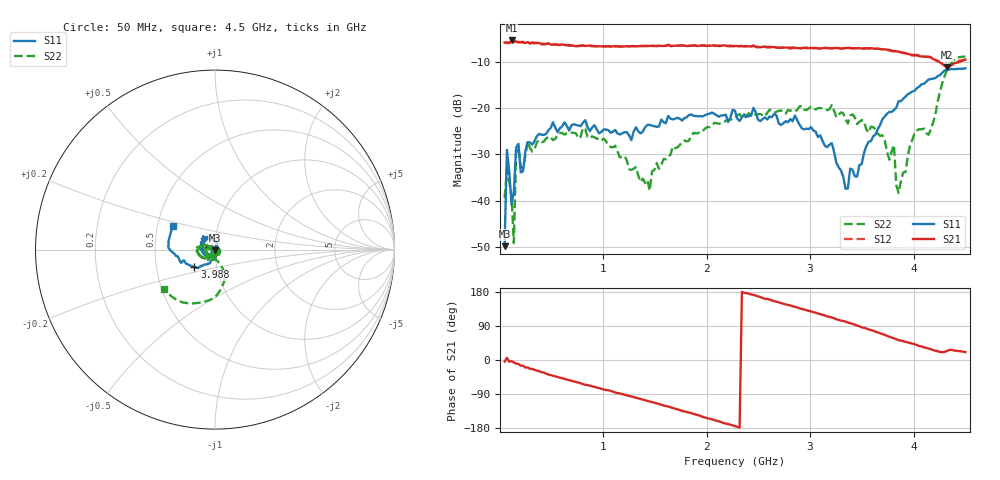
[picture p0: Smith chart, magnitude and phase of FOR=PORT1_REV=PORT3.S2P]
! Network Analyzer HP8722ES.07.74: Oct 30, 2002 Serial No. US39175660
! Hewlett-Packard
! 30 May 2012  16:59:59
! Frequency  S11  S21  S12  S22
# HZ  S  DB R  50
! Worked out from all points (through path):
!   201 points, 50 MHz to 4.5 GHz, reference 50 ohm
!   highest |S21| = -5.42 dB at 116.8 MHz (marker M1); lowest = -11.2 dB at 4.322 GHz (marker M2)
!   group delay of S21, straight-line fit = 219 ps
!   lowest |S11| = -49.9 dB at 50 MHz (marker M3), VSWR 1.01, Z = 49.9 - j0.294 ohm
!   |S11| at or under -10 dB: start of sweep to end of sweep
!   |S22| runs from -49.2 to -8.9 dB; largest |S21 - S12| = 0.019
!   S11 on the Smith chart (normalised r, x): 50 MHz: 1.00, -0.01; 3.988 GHz: 0.78, -0.16; 4.5 GHz: 0.60, +0.17
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5e7  -49.87 -113.4  -5.87 -4.1  -5.94 -2.8  -39.44 -66.5
7.225e7  -29.05 -54.1  -5.78 5.5  -5.99 3.9  -33.28 -81.3
1.1675e8  -40.83 174.5  -5.42 -2.9  -5.67 -4.0  -38.84 126.7
1.39e8  -38.27 -116.7  -5.77 -6.5  -5.90 -7.8  -49.19 -158.8
1.6125e8  -28.54 -90.2  -5.62 -9.2  -5.76 -10.4  -29.67 -87.5
1.835e8  -27.75 -90.2  -5.76 -10.6  -5.83 -12.1  -28.59 -96.6
2.0575e8  -33.91 -116.1  -5.78 -15.0  -5.83 -15.6  -32.63 -111.9
2.725e8  -27.40 -110.5  -5.77 -19.5  -5.88 -19.8  -27.26 -108.8
8.065e8  -23.18 -170.7  -6.49 -63.7  -6.54 -64.1  -24.33 -179.3
1.45175e9  -23.67 -180.0  -6.61 -109.6  -6.67 -109.4  -37.86 -107.2
1.54075e9  -23.99 -179.0  -6.56 -116.2  -6.61 -116.8  -33.13 -131.4
2.275e9  -20.60 138.4  -6.60 -174.5  -6.78 -174.9  -22.28 -141.3
3.0315e9  -24.86 96.2  -7.03 126.2  -7.12 126.5  -20.09 -175.5
3.36525e9  -37.37 -37.4  -7.02 99.1  -7.07 99.1  -23.37 168.4
3.61e9  -26.13 -90.1  -7.16 77.4  -7.23 77.4  -24.14 154.8
3.76575e9  -20.85 -117.2  -7.48 61.2  -7.59 60.7  -31.18 143.9
3.81025e9  -20.44 -119.3  -7.72 57.2  -7.76 57.2  -28.01 151.5
3.85475e9  -18.56 -128.8  -7.85 52.3  -7.80 52.9  -38.35 -139.0
3.98825e9  -16.45 -139.6  -8.53 43.1  -8.69 43.2  -26.82 -100.5
4.144e9  -13.87 -158.6  -8.97 30.3  -8.94 31.3  -25.79 -87.4
4.322e9  -11.68 177.1  -11.20 23.7  -10.99 24.0  -11.80 -88.3
4.5e9  -11.43 150.5  -9.55 20.9  -9.47 19.2  -8.88 -142.9
